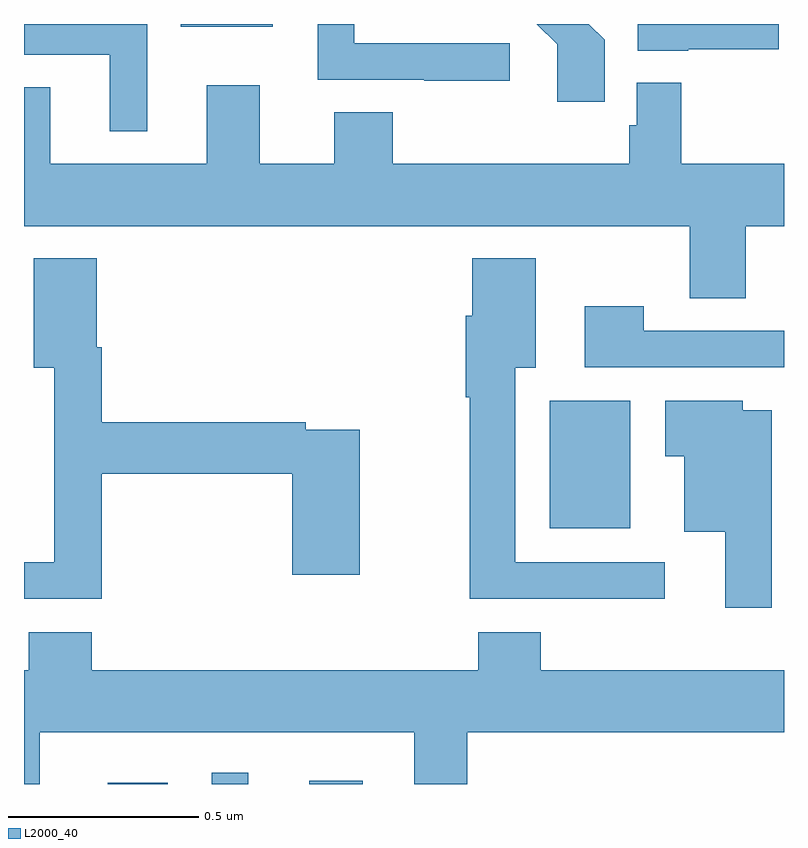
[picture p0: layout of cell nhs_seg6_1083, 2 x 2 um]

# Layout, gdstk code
import gdstk
lib = gdstk.Library(unit=1e-6, precision=1e-09)
def R(c, l, rs):  # rectangles x0, y0, x1, y1
    for r in rs: c.add(gdstk.rectangle(r[:2], r[2:], *l))
def P(c, l, *ps):  # polygons
    for p in ps: c.add(gdstk.Polygon(p, *l))
L2000_40 = (2000, 40)

nhs_seg6_1083 = lib.new_cell('nhs_seg6_1083')
R(nhs_seg6_1083, L2000_40, [(124.22,980.5,124.378,980.503), (124.494,980.5,124.59,980.53), (124.751,980.5,124.891,980.509), (125.384,981.173,125.596,981.508), (124.412,982.493,124.654,982.5)])
P(nhs_seg6_1083, L2000_40, [(125.748,982.433),(125.986,982.433),(125.986,982.5),(125.615,982.5),(125.615,982.43),(125.748,982.43)],
  [(124.324,982.5),(124,982.5),(124,982.419),(124.226,982.419),(124.226,982.218),(124.324,982.218)],
  [(125.278,982.449),(124.869,982.449),(124.869,982.5),(124.773,982.5),(124.773,982.353),(125.053,982.353),(125.053,982.351),(125.278,982.351)],
  [(125.528,982.458),(125.486,982.5),(125.349,982.5),(125.403,982.447),(125.403,982.296),(125.528,982.296)],
  [(125.899,981.968),(126,981.968),(126,982.132),(125.729,982.132),(125.729,982.345),(125.613,982.345),(125.613,982.233),(125.593,982.233),(125.593,982.132),(124.97,982.132),(124.97,982.268),(124.817,982.268),(124.817,982.132),(124.621,982.132),(124.621,982.339),(124.481,982.339),(124.481,982.132),(124.069,982.132),(124.069,982.334),(124,982.334),(124,981.968),(125.752,981.968),(125.752,981.778),(125.899,981.778)],
  [(125.686,981.084),(125.293,981.084),(125.293,981.596),(125.347,981.596),(125.347,981.883),(125.18,981.883),(125.18,981.732),(125.162,981.732),(125.162,981.518),(125.173,981.518),(125.173,980.987),(125.686,980.987)],
  [(124.205,981.316),(124.706,981.316),(124.706,981.051),(124.884,981.051),(124.884,981.432),(124.742,981.432),(124.742,981.452),(124.205,981.452),(124.205,981.65),(124.192,981.65),(124.192,981.883),(124.025,981.883),(124.025,981.596),(124.079,981.596),(124.079,981.084),(124,981.084),(124,980.987),(124.205,980.987)],
  [(126,981.693),(125.631,981.693),(125.631,981.757),(125.475,981.757),(125.475,981.597),(126,981.597)],
  [(125.968,981.484),(125.892,981.484),(125.892,981.508),(125.687,981.508),(125.687,981.362),(125.738,981.362),(125.738,981.164),(125.846,981.164),(125.846,980.964),(125.968,980.964)],
  [(124.042,980.636),(125.027,980.636),(125.027,980.5),(125.167,980.5),(125.167,980.636),(126,980.636),(126,980.8),(125.36,980.8),(125.36,980.899),(125.195,980.899),(125.195,980.8),(124.178,980.8),(124.178,980.899),(124.013,980.899),(124.013,980.8),(124,980.8),(124,980.5),(124.042,980.5)])

lib.write_gds('nhs_seg6_1083.gds')
